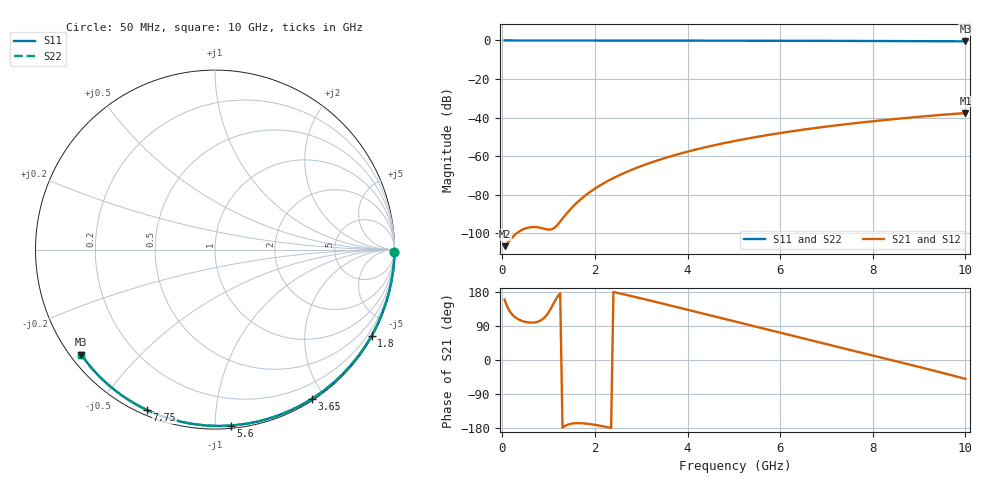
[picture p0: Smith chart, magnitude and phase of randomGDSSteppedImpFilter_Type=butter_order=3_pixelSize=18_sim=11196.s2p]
! freq	dB(S11)	phase(S11)	dB(S12)	phase(S12)
!  dB(S21)	phase(S21)	dB(S22)	phase(S22)
!S-par simulation data
#  GHz  S  DB  R 50
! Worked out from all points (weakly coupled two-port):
!   200 points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, 50 MHz to 10 GHz, reference 50 ohm
!   highest |S21| = -37.64 dB at 10 GHz (marker M1); lowest = -106.7 dB at 50 MHz (marker M2)
!   lowest |S11| = -0.5 dB at 10 GHz (marker M3), VSWR 37.10, Z = 1.51 - j17.3 ohm
!   |S11| at or under -10 dB: nowhere
!   |S22| runs from -0.5 to 0.0 dB; largest |S21 - S12| = 0
!   S11 on the Smith chart (normalised r, x): 50 MHz: open; 1.8 GHz: 0.03, -3.89; 3.65 GHz: 0.02, -1.84; 5.6 GHz: 0.02, -1.10; 7.75 GHz: 0.02, -0.66; 10 GHz: 0.03, -0.35
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0.05  -0.00 -0.8  -106.68 159.4  -106.68 159.4  -0.00 -0.8
0.45  -0.01 -7.3  -97.96 102.2  -97.96 102.2  -0.01 -7.3
0.9  -0.02 -14.6  -97.60 110.6  -97.60 110.6  -0.02 -14.6
1.75  -0.04 -28.1  -81.21 -167.2  -81.21 -167.2  -0.04 -28.1
1.8  -0.04 -28.9  -80.26 -167.7  -80.26 -167.7  -0.04 -28.9
1.85  -0.04 -29.6  -79.35 -168.4  -79.35 -168.4  -0.04 -29.6
2.15  -0.04 -34.3  -74.62 -174.3  -74.62 -174.3  -0.04 -34.3
2.35  -0.05 -37.4  -71.97 -179.2  -71.97 -179.2  -0.05 -37.4
2.55  -0.05 -40.5  -69.62 175.4  -69.62 175.4  -0.05 -40.5
2.95  -0.06 -46.6  -65.59 164.0  -65.59 164.0  -0.06 -46.6
3.4  -0.07 -53.4  -61.82 150.7  -61.82 150.7  -0.07 -53.4
3.65  -0.08 -57.1  -59.99 143.2  -59.99 143.2  -0.08 -57.1
4.3  -0.09 -66.6  -55.86 123.5  -55.86 123.5  -0.09 -66.6
5.05  -0.12 -77.2  -51.98 100.7  -51.98 100.7  -0.12 -77.2
5.6  -0.14 -84.8  -49.57 84.0  -49.57 84.0  -0.14 -84.8
6.15  -0.16 -92.2  -47.46 67.3  -47.46 67.3  -0.16 -92.2
6.7  -0.19 -99.5  -45.59 50.7  -45.59 50.7  -0.19 -99.5
7.2  -0.22 -106.0  -44.07 35.7  -44.07 35.7  -0.22 -106.0
7.75  -0.26 -113.0  -42.55 19.3  -42.55 19.3  -0.26 -113.0
8.35  -0.31 -120.7  -41.05 1.4  -41.05 1.4  -0.31 -120.7
9.15  -0.38 -130.8  -39.26 -22.9  -39.26 -22.9  -0.38 -130.8
10  -0.47 -141.8  -37.64 -49.7  -37.64 -49.7  -0.47 -141.8
